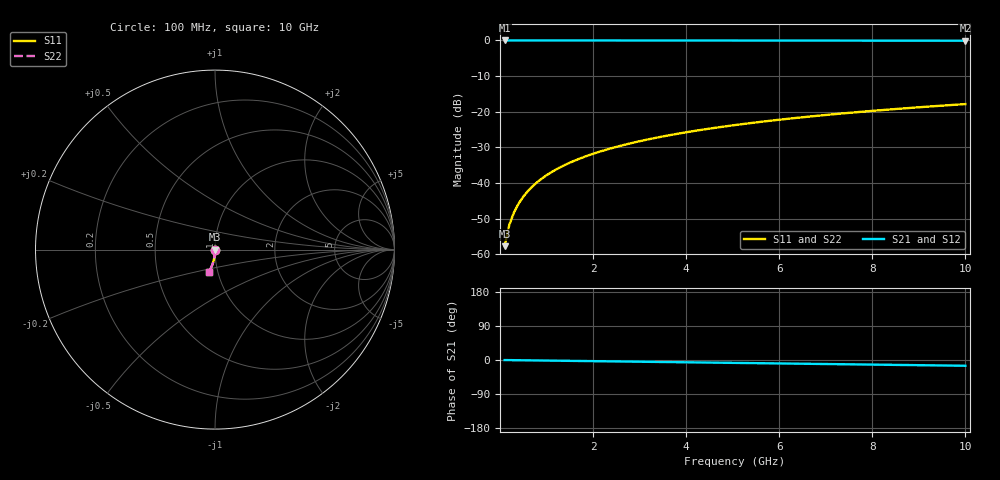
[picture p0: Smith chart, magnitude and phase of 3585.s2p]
# Hz S RI R 50.00
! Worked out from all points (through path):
!   100 points, 100 MHz to 10 GHz, reference 50 ohm
!   highest |S21| = 0.00 dB at 100 MHz (marker M1); lowest = -0.1 dB at 10 GHz (marker M2)
!   group delay of S21, straight-line fit = 4.22 ps
!   lowest |S11| = -57.8 dB at 100 MHz (marker M3), VSWR 1.00, Z = 50 - j0.128 ohm
!   |S11| at or under -10 dB: start of sweep to end of sweep
!   |S22| runs from -57.8 to -17.9 dB; largest |S21 - S12| = 0
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1e8  0.000201 -0.00128  0.9998 -0.00262  0.9998 -0.00262  0.000201 -0.00128
2e8  0.00019 -0.00256  0.9998 -0.00524  0.9998 -0.00524  0.00019 -0.00256
3e8  0.000173 -0.00384  0.9997 -0.00787  0.9997 -0.00787  0.000173 -0.00384
4e8  0.000148 -0.00512  0.9997 -0.0105  0.9997 -0.0105  0.000148 -0.00512
5e8  0.000117 -0.0064  0.9997 -0.0131  0.9997 -0.0131  0.000117 -0.0064
6e8  7.86e-05 -0.00768  0.9996 -0.0157  0.9996 -0.0157  7.86e-05 -0.00768
7e8  3.36e-05 -0.00896  0.9996 -0.0184  0.9996 -0.0184  3.36e-05 -0.00896
8e8  -1.81e-05 -0.0102  0.9995 -0.021  0.9995 -0.021  -1.81e-05 -0.0102
9e8  -7.66e-05 -0.0115  0.9994 -0.0236  0.9994 -0.0236  -7.66e-05 -0.0115
1.1e9  -0.000214 -0.0141  0.9992 -0.0289  0.9992 -0.0289  -0.000214 -0.0141
1.4e9  -0.000471 -0.0179  0.9989 -0.0367  0.9989 -0.0367  -0.000471 -0.0179
1.8e9  -0.000908 -0.0231  0.9984 -0.0472  0.9984 -0.0472  -0.000908 -0.0231
2.1e9  -0.00131 -0.0269  0.9979 -0.0551  0.9979 -0.0551  -0.00131 -0.0269
2.5e9  -0.00194 -0.032  0.9971 -0.0656  0.9971 -0.0656  -0.00194 -0.032
2.9e9  -0.00267 -0.0371  0.9961 -0.0761  0.9961 -0.0761  -0.00267 -0.0371
3.4e9  -0.00375 -0.0435  0.9948 -0.0893  0.9948 -0.0893  -0.00375 -0.0435
4.2e9  -0.00582 -0.0536  0.9921 -0.1103  0.9921 -0.1103  -0.00582 -0.0536
5.1e9  -0.00867 -0.065  0.9885 -0.1338  0.9885 -0.1338  -0.00867 -0.065
5.9e9  -0.0117 -0.0749  0.9847 -0.1547  0.9847 -0.1547  -0.0117 -0.0749
6.7e9  -0.0151 -0.0848  0.9803 -0.1755  0.9803 -0.1755  -0.0151 -0.0848
8.4e9  -0.0237 -0.1051  0.9693 -0.2193  0.9693 -0.2193  -0.0237 -0.1051
1e10  -0.0335 -0.1234  0.9567 -0.2599  0.9567 -0.2599  -0.0335 -0.1234
